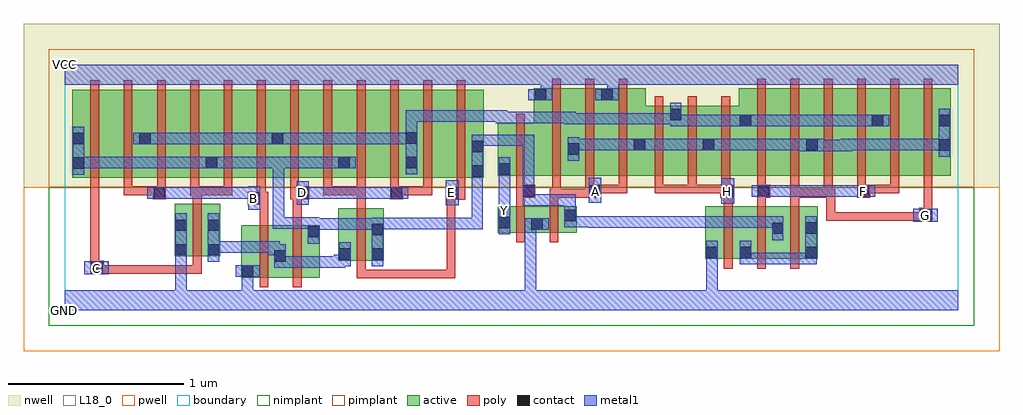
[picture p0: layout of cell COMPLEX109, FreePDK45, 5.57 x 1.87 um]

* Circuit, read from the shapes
.subckt COMPLEX109 A B C D E F G GND H VCC Y
M1 n1 C GND VSUBS nfet w=0.3u l=0.05u
M2 n1 B GND VSUBS nfet w=0.3u l=0.05u
M3 n2 D n1 VSUBS nfet w=0.3u l=0.05u
M4 n2 E n1 VSUBS nfet w=0.3u l=0.05u
M5 GND n2 Y VSUBS nfet w=0.15u l=0.05u
M6 n2 A GND VSUBS nfet w=0.15u l=0.05u
M7 n3 H GND VSUBS nfet w=0.3u l=0.05u
M8 n2 F n3 VSUBS nfet w=0.3u l=0.05u
M9 n3 G n2 VSUBS nfet w=0.3u l=0.05u
M10 n4 C n2 n5 pfet w=0.5u l=0.05u
M11 n6 B n4 n5 pfet w=0.5u l=0.05u
M12 n7 B n6 n5 pfet w=0.5u l=0.05u
M13 n2 C n7 n5 pfet w=0.5u l=0.05u
M14 n8 C n2 n5 pfet w=0.5u l=0.05u
M15 n6 B n8 n5 pfet w=0.5u l=0.05u
M16 n9 D n6 n5 pfet w=0.5u l=0.05u
M17 n2 E n9 n5 pfet w=0.5u l=0.05u
M18 n10 E n2 n5 pfet w=0.5u l=0.05u
M19 n6 D n10 n5 pfet w=0.5u l=0.05u
M20 n11 D n6 n5 pfet w=0.5u l=0.05u
M21 n2 E n11 n5 pfet w=0.5u l=0.05u
M22 VCC n2 Y n5 pfet w=0.3u l=0.05u
M23 n12 A VCC n5 pfet w=0.5u l=0.05u m=3
M24 n6 H n12 n5 pfet w=0.4u l=0.05u m=3
M25 n13 F n6 n5 pfet w=0.5u l=0.05u
M26 n12 G n13 n5 pfet w=0.5u l=0.05u
M27 n14 G n12 n5 pfet w=0.5u l=0.05u
M28 n6 F n14 n5 pfet w=0.5u l=0.05u
M29 n15 F n6 n5 pfet w=0.5u l=0.05u
M30 n12 G n15 n5 pfet w=0.5u l=0.05u
.ends

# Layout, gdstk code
import gdstk
lib = gdstk.Library(unit=1e-6, precision=1e-09)
def R(c, l, rs):  # rectangles x0, y0, x1, y1
    for r in rs: c.add(gdstk.rectangle(r[:2], r[2:], *l))
def A(c, l, x, y, w, h, nx, ny, dx, dy):  # array of equal rectangles
    R(c, l, [(x+i*dx, y+j*dy, x+i*dx+w, y+j*dy+h) for i in range(nx) for j in range(ny)])
active = (1, 0)
pwell = (2, 0)
nwell = (3, 0)
nimplant = (4, 0)
pimplant = (5, 0)
poly = (9, 0)
contact = (10, 0)
metal1 = (11, 0)
L18_0 = (18, 0)
boundary = (235, 0)

complex109 = lib.new_cell('COMPLEX109')
R(complex109, active, [(1.007,0.185,1.082,0.485), (1.007,0.185,1.267,0.485), (1.192,0.185,1.457,0.485), (1.192,0.272,1.267,0.397), (1.562,0.282,1.637,0.582), (1.562,0.282,1.822,0.582), (1.747,0.282,1.822,0.582), (3.657,0.292,3.732,0.592), (3.657,0.292,3.922,0.592), (3.847,0.292,4.107,0.592), (3.847,0.292,3.922,0.497), (4.032,0.292,4.297,0.592), (4.222,0.292,4.297,0.592), (0.627,0.307,0.702,0.607), (0.627,0.307,0.887,0.607), (0.812,0.307,0.887,0.607), (1.382,0.33,1.457,0.485), (4.032,0.33,4.107,0.505), (2.472,0.442,2.547,0.592), (2.472,0.442,2.732,0.592), (2.657,0.442,2.732,0.592), (2.657,0.442,2.922,0.592), (2.847,0.442,2.922,0.592), (0.042,0.757,0.267,1.257), (0.042,0.757,0.147,1.2), (0.267,0.757,0.497,1.257), (0.422,0.757,0.647,1.257), (0.422,0.757,0.497,1.2), (0.647,0.757,0.875,1.257), (0.8,0.757,0.875,1.07), (0.8,0.757,1.027,1.257), (1.027,0.757,1.252,1.257), (1.177,0.757,1.407,1.257), (1.177,0.757,1.252,1.2), (1.407,0.757,1.632,1.257), (1.557,0.757,1.787,1.257), (1.557,0.757,1.632,1.07), (1.787,0.757,2.017,1.257), (1.942,0.757,2.167,1.257), (1.942,0.757,2.017,1.2), (2.167,0.757,2.392,1.257), (2.317,0.757,2.392,1.07), (2.472,0.767,2.547,0.917), (2.472,0.767,2.752,1.067), (2.677,0.767,2.942,1.267), (2.867,0.767,2.942,1.07), (2.867,0.767,3.132,1.267), (3.057,0.767,3.317,1.267), (3.057,0.767,3.132,1.267), (3.242,0.767,3.317,1.07), (3.242,0.767,3.525,1.167), (3.45,0.767,3.712,1.167), (3.45,0.767,3.525,1.155), (3.637,0.767,3.712,1.07), (3.637,0.767,3.922,1.167), (3.847,0.767,4.072,1.267), (4.072,0.767,4.302,1.267), (4.227,0.767,4.452,1.267), (4.227,0.767,4.302,1.07), (4.452,0.767,4.677,1.267), (4.602,0.767,4.677,1.2), (4.602,0.767,4.832,1.267), (4.832,0.767,5.057,1.267), (4.982,0.767,5.057,1.2), (2.677,0.865,2.752,1.267), (3.847,0.907,3.922,1.2)])
R(complex109, pwell, [(-0.235,-0.235,5.335,0.7)])
R(complex109, nwell, [(-0.235,0.7,5.335,1.635)])
R(complex109, nimplant, [(-0.09,-0.09,5.19,0.7)])
R(complex109, pimplant, [(-0.09,0.7,5.19,1.49)])
A(complex109, poly, 3.762, 0.237, 0.05, 0.41, 3, 1, 0.19, 0)
A(complex109, poly, 3.762, 0.597, 0.05, 0.095, 3, 1, 0.19, 0)
A(complex109, poly, 0.337, 0.657, 0.05, 0.095, 4, 1, 0.19, 0)
A(complex109, poly, 1.287, 0.657, 0.05, 0.095, 5, 1, 0.19, 0)
A(complex109, poly, 3.367, 0.667, 0.05, 0.095, 3, 1, 0.19, 0)
A(complex109, poly, 0.147, 0.702, 0.05, 0.61, 12, 1, 0.19, 0)
A(complex109, poly, 2.782, 0.712, 0.05, 0.61, 3, 1, 0.19, 0)
A(complex109, poly, 3.367, 0.712, 0.05, 0.51, 3, 1, 0.19, 0)
A(complex109, poly, 3.952, 0.712, 0.05, 0.61, 6, 1, 0.19, 0)
R(complex109, poly, [(1.112,0.13,1.162,0.54), (1.302,0.13,1.352,0.54), (1.667,0.182,1.717,0.232), (1.667,0.182,1.717,0.232), (1.667,0.182,1.717,0.232), (1.667,0.182,1.717,0.277), (1.667,0.182,1.932,0.232), (1.882,0.182,1.932,0.232), (1.882,0.182,1.932,0.232), (1.882,0.182,1.932,0.232), (1.882,0.182,2.065,0.232), (2.015,0.182,2.065,0.232), (2.015,0.182,2.065,0.232), (2.015,0.182,2.065,0.232), (2.015,0.182,2.23,0.232), (2.18,0.182,2.23,0.232), (2.18,0.182,2.23,0.232), (2.18,0.182,2.23,0.232), (2.18,0.182,2.23,0.232), (2.18,0.182,2.23,0.232), (2.18,0.182,2.23,0.232), (2.18,0.182,2.23,0.232), (2.18,0.182,2.23,0.68), (0.147,0.207,0.222,0.282), (0.172,0.207,0.222,0.257), (0.172,0.207,0.222,0.257), (0.172,0.207,0.222,0.257), (0.172,0.207,0.222,0.257), (0.172,0.207,0.222,0.257), (0.172,0.207,0.222,0.257), (0.172,0.207,0.355,0.257), (0.305,0.207,0.355,0.257), (0.305,0.207,0.355,0.257), (0.305,0.207,0.355,0.257), (0.305,0.207,0.355,0.257), (0.305,0.207,0.355,0.257), (0.305,0.207,0.355,0.257), (0.305,0.207,0.355,0.257), (0.305,0.207,0.52,0.257), (0.47,0.207,0.52,0.257), (0.47,0.207,0.782,0.257), (0.732,0.207,0.782,0.257), (0.732,0.207,0.782,0.257), (0.732,0.207,0.782,0.257), (0.732,0.207,0.782,0.302), (1.667,0.227,1.717,0.637), (0.147,0.232,0.197,0.752), (0.732,0.252,0.782,0.662), (2.577,0.387,2.627,0.647), (2.767,0.387,2.817,0.647), (1.112,0.49,1.162,0.652), (1.302,0.49,1.352,0.682), (4.347,0.51,4.397,0.56), (4.347,0.51,4.397,0.56), (4.347,0.51,4.397,0.56), (4.347,0.51,4.397,0.56), (4.347,0.51,4.397,0.56), (4.347,0.51,4.597,0.56), (4.347,0.51,4.397,0.692), (4.547,0.51,4.597,0.56), (4.547,0.51,4.597,0.56), (4.547,0.51,4.597,0.56), (4.547,0.51,4.73,0.56), (4.68,0.51,4.73,0.56), (4.68,0.51,4.927,0.56), (4.877,0.51,4.927,0.56), (4.877,0.51,4.927,0.56), (4.877,0.51,4.927,0.56), (4.877,0.51,4.927,0.56), (4.877,0.51,4.927,0.56), (4.877,0.51,4.927,0.56), (4.877,0.51,4.952,0.585), (4.902,0.535,4.952,0.762), (1.667,0.587,1.717,0.707), (2.577,0.597,2.627,0.692), (2.767,0.597,2.817,0.692), (1.045,0.602,1.162,0.677), (0.732,0.612,0.782,0.707), (1.097,0.627,1.147,0.752), (2.18,0.63,2.287,0.705), (0.502,0.632,0.577,0.707), (1.287,0.632,1.395,0.707), (1.857,0.632,1.932,0.707), (2.577,0.642,2.685,0.717), (2.767,0.642,2.832,0.692), (2.782,0.642,2.832,0.762), (2.782,0.642,3.022,0.692), (2.972,0.642,3.022,0.692), (2.972,0.642,3.022,0.692), (2.972,0.642,3.06,0.717), (3.742,0.642,3.817,0.717), (3.952,0.642,4.027,0.717), (4.142,0.642,4.192,0.692), (4.142,0.642,4.192,0.692), (4.142,0.642,4.192,0.692), (4.142,0.642,4.192,0.762), (4.142,0.642,4.382,0.692), (4.332,0.642,4.382,0.762), (4.332,0.642,4.397,0.692), (4.522,0.642,4.597,0.717), (2.237,0.655,2.287,0.752), (0.337,0.657,0.387,0.707), (0.337,0.657,0.387,0.707), (0.337,0.657,0.387,0.707), (0.337,0.657,0.552,0.707), (0.717,0.657,0.782,0.707), (0.732,0.657,0.957,0.707), (0.907,0.657,0.957,0.707), (0.907,0.657,0.957,0.707), (0.907,0.657,0.957,0.707), (1.477,0.657,1.527,0.707), (1.477,0.657,1.527,0.707), (1.477,0.657,1.527,0.707), (1.477,0.657,1.717,0.707), (1.667,0.657,1.717,0.707), (1.882,0.657,1.932,0.707), (1.882,0.657,1.932,0.707), (1.882,0.657,2.097,0.707), (2.047,0.657,2.097,0.707), (2.577,0.667,2.627,0.762), (2.972,0.667,3.022,0.762), (3.01,0.667,3.212,0.717), (3.162,0.667,3.212,0.717), (3.162,0.667,3.212,0.717), (3.162,0.667,3.212,0.717), (3.162,0.667,3.212,0.762), (3.367,0.667,3.417,0.717), (3.367,0.667,3.417,0.717), (3.367,0.667,3.417,0.717), (3.367,0.667,3.607,0.717), (3.557,0.667,3.607,0.717), (3.557,0.667,3.792,0.717), (3.742,0.667,3.792,0.717), (3.742,0.667,3.792,0.717), (3.952,0.667,4.002,0.762), (4.522,0.667,4.572,0.762), (4.547,0.667,4.597,0.717), (4.547,0.667,4.597,0.717), (4.547,0.667,4.762,0.717), (4.712,0.667,4.762,0.717), (4.712,0.667,4.762,0.762), (2.577,0.712,2.627,1.122)])
R(complex109, contact, [(1.012,0.19,1.077,0.255), (0.152,0.212,0.217,0.277), (1.197,0.277,1.262,0.342), (1.567,0.287,1.632,0.352), (1.752,0.287,1.817,0.352), (3.662,0.297,3.727,0.362), (3.852,0.297,3.917,0.362), (4.227,0.297,4.292,0.362), (0.632,0.312,0.697,0.377), (0.817,0.312,0.882,0.377), (1.387,0.415,1.452,0.48), (1.752,0.427,1.817,0.492), (4.037,0.435,4.102,0.5), (4.227,0.437,4.292,0.502), (0.632,0.452,0.697,0.517), (0.817,0.452,0.882,0.517), (2.662,0.46,2.727,0.525), (2.477,0.467,2.542,0.532), (2.852,0.507,2.917,0.572), (4.882,0.515,4.947,0.58), (1.05,0.607,1.115,0.672), (2.185,0.635,2.25,0.7), (0.507,0.637,0.572,0.702), (1.325,0.637,1.39,0.702), (1.862,0.637,1.927,0.702), (2.615,0.647,2.68,0.712), (2.99,0.647,3.055,0.712), (3.747,0.647,3.812,0.712), (3.957,0.647,4.022,0.712), (4.527,0.647,4.592,0.712), (2.322,0.762,2.387,0.827), (2.477,0.772,2.542,0.837), (0.047,0.807,0.112,0.872), (0.805,0.81,0.87,0.875), (1.562,0.81,1.627,0.875), (1.947,0.81,2.012,0.875), (2.872,0.887,2.937,0.952), (2.322,0.902,2.387,0.967), (4.987,0.91,5.052,0.975), (3.247,0.912,3.312,0.977), (3.642,0.912,3.707,0.977), (4.232,0.912,4.297,0.977), (0.047,0.947,0.112,1.012), (0.427,0.947,0.492,1.012), (1.182,0.947,1.247,1.012), (1.947,0.95,2.012,1.015), (3.852,1.05,3.917,1.115), (4.607,1.05,4.672,1.115), (4.987,1.05,5.052,1.115), (3.455,1.085,3.52,1.15), (2.682,1.197,2.747,1.262), (3.062,1.197,3.127,1.262)])
R(complex109, metal1, [(0,0,5.1,0.115), (0.632,0.05,0.697,0.342), (1.01,0.05,1.075,0.115), (1.01,0.05,1.075,0.115), (1.01,0.05,1.075,0.115), (1.01,0.05,1.075,0.115), (1.01,0.05,1.075,0.255), (2.627,0.05,2.692,0.115), (2.627,0.05,2.692,0.115), (2.627,0.05,2.692,0.115), (2.627,0.05,2.692,0.115), (2.627,0.05,2.692,0.115), (2.627,0.05,2.692,0.115), (2.627,0.05,2.692,0.525), (3.662,0.05,3.727,0.115), (3.662,0.05,3.727,0.115), (3.662,0.05,3.727,0.115), (3.662,0.05,3.727,0.115), (3.662,0.05,3.727,0.327), (0.977,0.19,1.112,0.255), (0.112,0.205,0.252,0.28), (1.197,0.242,1.42,0.307), (1.197,0.242,1.262,0.377), (1.355,0.242,1.42,0.307), (1.355,0.242,1.42,0.307), (1.355,0.242,1.42,0.307), (1.355,0.242,1.6,0.307), (1.535,0.242,1.6,0.317), (1.535,0.252,1.632,0.317), (1.567,0.252,1.632,0.387), (1.752,0.252,1.817,0.527), (3.662,0.262,3.727,0.397), (3.852,0.262,3.917,0.397), (3.852,0.262,4.125,0.327), (4.06,0.262,4.125,0.327), (4.06,0.262,4.125,0.327), (4.06,0.262,4.125,0.327), (4.06,0.262,4.262,0.327), (4.197,0.262,4.262,0.327), (4.197,0.262,4.292,0.327), (4.227,0.262,4.292,0.537), (0.632,0.277,0.697,0.342), (0.632,0.277,0.697,0.342), (0.632,0.277,0.697,0.342), (0.632,0.277,0.697,0.342), (0.632,0.277,0.697,0.552), (0.817,0.277,0.882,0.552), (1.162,0.312,1.262,0.377), (1.162,0.312,1.227,0.392), (0.817,0.327,0.937,0.392), (0.872,0.327,0.937,0.392), (0.872,0.327,1.042,0.392), (0.977,0.327,1.042,0.392), (0.977,0.327,1.227,0.392), (1.387,0.38,1.452,0.525), (4.037,0.4,4.102,0.535), (2.477,0.432,2.542,0.567), (1.387,0.46,1.452,0.525), (1.387,0.46,1.59,0.525), (1.387,0.46,1.452,0.53), (1.525,0.46,1.59,0.525), (1.525,0.46,1.59,0.525), (1.525,0.46,1.59,0.525), (1.525,0.46,1.737,0.525), (1.672,0.46,1.737,0.525), (1.672,0.46,1.817,0.525), (2.627,0.46,2.762,0.525), (1.752,0.462,1.875,0.527), (1.81,0.462,1.875,0.527), (1.81,0.462,2.012,0.527), (1.947,0.462,2.012,0.527), (1.947,0.462,2.012,0.527), (1.947,0.462,2.012,0.527), (1.947,0.462,2.012,0.527), (1.947,0.462,2.012,0.527), (1.947,0.462,2.25,0.527), (2.185,0.462,2.25,0.527), (2.185,0.462,2.25,0.527), (2.185,0.462,2.25,0.527), (2.185,0.462,2.387,0.527), (2.322,0.462,2.387,0.527), (2.322,0.462,2.387,0.527), (2.322,0.462,2.387,0.527), (2.322,0.462,2.387,0.792), (1.187,0.465,1.252,0.53), (1.187,0.465,1.452,0.53), (1.187,0.465,1.252,0.875), (2.99,0.47,3.075,0.535), (2.99,0.47,3.055,0.537), (3.01,0.47,3.075,0.535), (3.01,0.47,3.212,0.535), (3.147,0.47,3.212,0.535), (3.147,0.47,3.212,0.535), (3.147,0.47,3.212,0.535), (3.147,0.47,3.487,0.535), (3.422,0.47,3.487,0.535), (3.422,0.47,3.487,0.535), (3.422,0.47,3.487,0.535), (3.422,0.47,3.657,0.535), (3.592,0.47,3.657,0.535), (3.592,0.47,3.657,0.535), (3.592,0.47,3.657,0.535), (3.592,0.47,3.82,0.535), (3.755,0.47,3.82,0.535), (3.755,0.47,3.947,0.535), (3.882,0.47,3.947,0.535), (3.882,0.47,4.102,0.535), (4.037,0.47,4.102,0.535), (4.037,0.47,4.102,0.535), (2.852,0.472,3.055,0.537), (2.852,0.472,2.917,0.607), (2.477,0.502,2.542,0.567), (2.477,0.502,2.542,0.637), (4.842,0.505,4.982,0.58), (2.852,0.542,2.917,0.607), (2.852,0.542,2.917,0.662), (1.047,0.572,1.115,0.707), (2.477,0.572,2.542,0.802), (2.615,0.597,2.68,0.662), (2.615,0.597,2.917,0.662), (2.615,0.597,2.68,0.747), (2.175,0.6,2.25,0.74), (1.325,0.602,1.392,0.737), (3.747,0.607,3.82,0.752), (2.615,0.612,2.68,0.747), (2.99,0.612,3.062,0.757), (0.472,0.637,0.607,0.702), (0.542,0.637,0.665,0.702), (0.6,0.637,0.665,0.702), (0.6,0.637,0.745,0.702), (0.68,0.637,0.745,0.702), (0.68,0.637,0.905,0.702), (0.84,0.637,0.905,0.702), (0.84,0.637,0.905,0.702), (0.84,0.637,0.905,0.702), (0.84,0.637,1.075,0.702), (1.01,0.637,1.075,0.702), (1.01,0.637,1.112,0.702), (1.327,0.637,1.42,0.702), (1.355,0.637,1.42,0.702), (1.355,0.637,1.6,0.702), (1.535,0.637,1.6,0.702), (1.535,0.637,1.6,0.702), (1.535,0.637,1.6,0.702), (1.535,0.637,1.737,0.702), (1.672,0.637,1.737,0.702), (1.672,0.637,1.737,0.702), (1.672,0.637,1.737,0.702), (1.672,0.637,1.892,0.702), (1.827,0.637,1.962,0.702), (3.922,0.647,4.057,0.712), (3.992,0.647,4.125,0.712), (4.06,0.647,4.125,0.712), (4.06,0.647,4.262,0.712), (4.197,0.647,4.262,0.712), (4.197,0.647,4.262,0.712), (4.197,0.647,4.262,0.712), (4.197,0.647,4.42,0.712), (4.355,0.647,4.42,0.712), (4.355,0.647,4.495,0.712), (4.43,0.647,4.495,0.712), (4.43,0.647,4.557,0.712), (4.492,0.647,4.627,0.712), (2.615,0.682,2.68,0.747), (2.615,0.682,2.68,0.747), (2.615,0.682,2.68,0.977), (2.322,0.727,2.387,0.792), (2.322,0.727,2.387,0.792), (2.322,0.727,2.387,1.002), (2.477,0.737,2.542,0.872), (0.047,0.772,0.112,1.047), (1.947,0.775,2.012,1.05), (0.047,0.81,0.112,0.875), (0.047,0.81,0.112,0.875), (0.047,0.81,0.32,0.875), (0.255,0.81,0.32,0.875), (0.255,0.81,0.32,0.875), (0.255,0.81,0.32,0.875), (0.255,0.81,0.527,0.875), (0.462,0.81,0.527,0.875), (0.462,0.81,0.527,0.875), (0.462,0.81,0.527,0.875), (0.462,0.81,0.675,0.875), (0.61,0.81,0.675,0.875), (0.61,0.81,0.767,0.875), (0.702,0.81,0.767,0.875), (0.702,0.81,0.835,0.875), (0.77,0.81,0.905,0.875), (0.84,0.81,0.905,0.875), (0.84,0.81,0.905,0.875), (0.84,0.81,1.075,0.875), (1.01,0.81,1.075,0.875), (1.01,0.81,1.075,0.875), (1.01,0.81,1.075,0.875), (1.01,0.81,1.252,0.875), (1.187,0.81,1.252,0.875), (1.187,0.81,1.252,0.875), (1.187,0.81,1.252,0.875), (1.187,0.81,1.42,0.875), (1.355,0.81,1.42,0.875), (1.355,0.81,1.42,0.875), (1.355,0.81,1.42,0.875), (1.355,0.81,1.592,0.875), (1.527,0.81,1.592,0.875), (1.527,0.81,1.592,0.875), (1.527,0.81,1.662,0.875), (2.872,0.852,2.937,0.987), (4.987,0.875,5.052,1.15), (4.197,0.907,4.332,0.977), (4.267,0.907,4.4,0.972), (4.335,0.907,4.4,0.972), (4.335,0.907,4.495,0.972), (4.43,0.907,4.495,0.977), (2.615,0.912,2.68,0.977), (2.615,0.912,2.68,0.995), (2.872,0.912,3.075,0.977), (3.01,0.912,3.075,0.977), (3.01,0.912,3.075,0.977), (3.01,0.912,3.075,0.977), (3.01,0.912,3.212,0.977), (3.147,0.912,3.212,0.977), (3.147,0.912,3.277,0.977), (3.212,0.912,3.35,0.977), (3.285,0.912,3.35,0.977), (3.285,0.912,3.35,0.977), (3.285,0.912,3.52,0.977), (3.455,0.912,3.52,0.977), (3.455,0.912,3.672,0.977), (3.607,0.912,3.672,0.977), (3.607,0.912,3.672,0.977), (3.607,0.912,3.742,0.977), (3.677,0.912,3.81,0.977), (3.745,0.912,3.81,0.977), (3.745,0.912,3.952,0.977), (3.887,0.912,3.952,0.977), (3.887,0.912,4.09,0.977), (4.025,0.912,4.09,0.977), (4.025,0.912,4.09,0.977), (4.025,0.912,4.09,0.977), (4.025,0.912,4.262,0.977), (4.197,0.912,4.262,0.977), (4.197,0.912,4.262,0.977), (4.43,0.912,4.632,0.977), (4.567,0.912,4.632,0.977), (4.567,0.912,4.632,0.977), (4.567,0.912,4.632,0.977), (4.567,0.912,4.77,0.977), (4.705,0.912,4.77,0.977), (4.705,0.912,4.77,0.977), (4.705,0.912,4.77,0.977), (4.705,0.912,5.052,0.977), (4.987,0.912,5.052,0.977), (4.987,0.912,5.052,0.977), (2.615,0.93,2.68,0.995), (2.615,0.93,2.68,0.995), (2.615,0.93,2.68,1.002), (2.322,0.937,2.387,1.002), (2.322,0.937,2.387,1.002), (2.322,0.937,2.387,1.002), (2.322,0.937,2.387,1.002), (2.322,0.937,2.68,1.002), (0.392,0.947,0.527,1.012), (0.462,0.947,0.527,1.012), (0.462,0.947,0.527,1.012), (0.462,0.947,0.667,1.012), (0.602,0.947,0.667,1.012), (0.602,0.947,0.745,1.012), (0.68,0.947,0.745,1.012), (0.68,0.947,0.905,1.012), (0.84,0.947,0.905,1.012), (0.84,0.947,0.905,1.012), (0.84,0.947,0.905,1.012), (0.84,0.947,1.075,1.012), (1.01,0.947,1.075,1.012), (1.01,0.947,1.075,1.012), (1.01,0.947,1.075,1.012), (1.01,0.947,1.212,1.012), (1.147,0.947,1.282,1.012), (1.217,0.947,1.452,1.012), (1.387,0.947,1.452,1.012), (1.387,0.947,1.452,1.012), (1.387,0.947,1.452,1.012), (1.387,0.947,1.59,1.012), (1.525,0.947,1.59,1.012), (1.525,0.947,1.59,1.012), (1.525,0.947,1.59,1.012), (1.525,0.947,1.737,1.012), (1.672,0.947,1.737,1.012), (1.672,0.947,1.737,1.012), (1.672,0.947,1.737,1.012), (1.672,0.947,1.875,1.012), (1.81,0.947,1.875,1.012), (1.81,0.947,2.012,1.012), (1.947,0.985,2.012,1.05), (1.947,0.985,2.012,1.14), (3.455,1.05,3.657,1.115), (3.455,1.05,3.52,1.185), (3.592,1.05,3.657,1.115), (3.592,1.05,3.657,1.115), (3.592,1.05,3.657,1.115), (3.592,1.05,3.82,1.115), (3.755,1.05,3.82,1.115), (3.755,1.05,3.882,1.115), (3.817,1.05,3.952,1.115), (3.887,1.05,3.957,1.115), (3.892,1.05,3.957,1.115), (3.892,1.05,4.09,1.115), (4.025,1.05,4.09,1.115), (4.025,1.05,4.262,1.115), (4.197,1.05,4.262,1.115), (4.197,1.05,4.262,1.115), (4.197,1.05,4.262,1.115), (4.197,1.05,4.42,1.115), (4.355,1.05,4.42,1.115), (4.355,1.05,4.495,1.115), (4.43,1.05,4.495,1.115), (4.43,1.05,4.632,1.115), (4.567,1.05,4.632,1.115), (4.567,1.05,4.637,1.115), (4.572,1.05,4.707,1.115), (2.852,1.06,3.075,1.125), (2.852,1.06,2.917,1.132), (3.01,1.06,3.075,1.125), (3.01,1.06,3.075,1.125), (3.01,1.06,3.075,1.125), (3.01,1.06,3.212,1.125), (3.147,1.06,3.212,1.125), (3.147,1.06,3.212,1.125), (3.147,1.06,3.212,1.125), (3.147,1.06,3.52,1.125), (3.455,1.06,3.52,1.125), (3.455,1.06,3.52,1.125), (2.46,1.067,2.78,1.132), (2.46,1.067,2.525,1.14), (2.715,1.067,2.78,1.132), (2.715,1.067,2.917,1.132), (2.852,1.067,2.917,1.132), (2.852,1.067,2.917,1.132), (1.947,1.075,2.25,1.14), (2.185,1.075,2.25,1.14), (2.185,1.075,2.25,1.14), (2.185,1.075,2.25,1.14), (2.185,1.075,2.387,1.14), (2.322,1.075,2.387,1.14), (2.322,1.075,2.387,1.14), (2.322,1.075,2.387,1.14), (2.322,1.075,2.525,1.14), (2.647,1.197,2.782,1.262), (2.717,1.197,2.782,1.35), (3.027,1.197,3.162,1.262), (3.097,1.197,3.162,1.35), (0,1.285,5.1,1.4)])
R(complex109, L18_0, [(0,0,5.1,0.115), (0.632,0.05,0.697,0.342), (1.01,0.05,1.075,0.115), (1.01,0.05,1.075,0.115), (1.01,0.05,1.075,0.115), (1.01,0.05,1.075,0.115), (1.01,0.05,1.075,0.255), (2.627,0.05,2.692,0.115), (2.627,0.05,2.692,0.115), (2.627,0.05,2.692,0.115), (2.627,0.05,2.692,0.115), (2.627,0.05,2.692,0.115), (2.627,0.05,2.692,0.115), (2.627,0.05,2.692,0.525), (3.662,0.05,3.727,0.115), (3.662,0.05,3.727,0.115), (3.662,0.05,3.727,0.115), (3.662,0.05,3.727,0.115), (3.662,0.05,3.727,0.327), (0.977,0.19,1.112,0.255), (0.112,0.205,0.252,0.28), (0.147,0.207,0.212,0.272), (3.662,0.262,3.727,0.397), (0.632,0.277,0.697,0.342), (0.632,0.277,0.697,0.342), (0.632,0.277,0.697,0.342), (0.632,0.277,0.697,0.342), (0.632,0.277,0.697,0.552), (2.477,0.432,2.542,0.567), (2.627,0.46,2.762,0.525), (2.477,0.502,2.542,0.567), (2.477,0.502,2.542,0.637), (4.842,0.505,4.982,0.58), (4.877,0.507,4.942,0.572), (2.477,0.537,2.542,0.602), (1.047,0.572,1.115,0.707), (2.477,0.572,2.542,0.802), (2.175,0.6,2.25,0.74), (1.325,0.602,1.392,0.737), (1.047,0.607,1.112,0.672), (3.747,0.607,3.82,0.752), (2.99,0.612,3.062,0.757), (0.472,0.637,0.607,0.702), (0.542,0.637,0.665,0.702), (0.6,0.637,0.665,0.702), (0.6,0.637,0.745,0.702), (0.68,0.637,0.745,0.702), (0.68,0.637,0.905,0.702), (0.84,0.637,0.905,0.702), (0.84,0.637,0.905,0.702), (0.84,0.637,0.905,0.702), (0.84,0.637,1.075,0.702), (1.01,0.637,1.075,0.702), (1.01,0.637,1.112,0.702), (1.327,0.637,1.392,0.702), (1.327,0.637,1.42,0.702), (1.355,0.637,1.42,0.702), (1.355,0.637,1.6,0.702), (1.535,0.637,1.6,0.702), (1.535,0.637,1.6,0.702), (1.535,0.637,1.6,0.702), (1.535,0.637,1.737,0.702), (1.672,0.637,1.737,0.702), (1.672,0.637,1.737,0.702), (1.672,0.637,1.737,0.702), (1.672,0.637,1.892,0.702), (1.827,0.637,1.962,0.702), (2.177,0.637,2.242,0.702), (2.997,0.647,3.062,0.712), (3.747,0.647,3.812,0.712), (3.922,0.647,4.057,0.712), (3.992,0.647,4.125,0.712), (4.06,0.647,4.125,0.712), (4.06,0.647,4.262,0.712), (4.197,0.647,4.262,0.712), (4.197,0.647,4.262,0.712), (4.197,0.647,4.262,0.712), (4.197,0.647,4.42,0.712), (4.355,0.647,4.42,0.712), (4.355,0.647,4.495,0.712), (4.43,0.647,4.495,0.712), (4.43,0.647,4.557,0.712), (4.492,0.647,4.627,0.712), (4.527,0.647,4.592,0.712), (2.477,0.737,2.542,0.872), (2.647,1.197,2.782,1.262), (2.717,1.197,2.782,1.35), (3.027,1.197,3.162,1.262), (3.097,1.197,3.162,1.35), (0,1.285,5.1,1.4)])
R(complex109, boundary, [(0,0,5.1,1.4)])
complex109.add(gdstk.Label('A', (3.03,0.68), layer=11, texttype=0))
complex109.add(gdstk.Label('B', (1.08,0.64), layer=11, texttype=0))
complex109.add(gdstk.Label('C', (0.18,0.24), layer=11, texttype=0))
complex109.add(gdstk.Label('D', (1.36,0.67), layer=11, texttype=0))
complex109.add(gdstk.Label('E', (2.21,0.67), layer=11, texttype=0))
complex109.add(gdstk.Label('F', (4.56,0.68), layer=11, texttype=0))
complex109.add(gdstk.Label('G', (4.91,0.54), layer=11, texttype=0))
complex109.add(gdstk.Label('H', (3.78,0.68), layer=11, texttype=0))
complex109.add(gdstk.Label('Y', (2.51,0.57), layer=11, texttype=0))
complex109.add(gdstk.Label('VCC', (0,1.4), layer=11, texttype=0))
complex109.add(gdstk.Label('GND', (0,0), layer=11, texttype=0))

lib.write_gds('COMPLEX109.gds')
